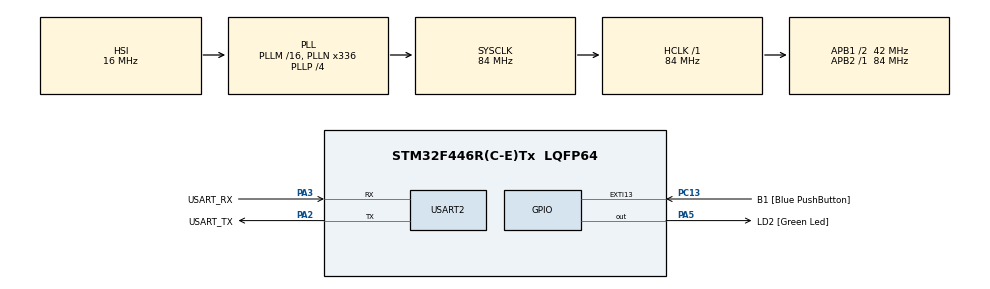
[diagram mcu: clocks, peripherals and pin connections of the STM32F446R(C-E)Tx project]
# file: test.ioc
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Mcu.Family=STM32F4
Mcu.Name=STM32F446R(C-E)Tx
Mcu.Package=LQFP64
NVIC.PriorityGroup=NVIC_PRIORITYGROUP_0
PA13.GPIO_Label=TMS
PA13.Mode=Serial_Wire
PA13.Signal=SYS_JTMS-SWDIO
PA14.GPIO_Label=TCK
PA14.Mode=Serial_Wire
PA14.Signal=SYS_JTCK-SWCLK
PA2.GPIO_Label=USART_TX
PA2.Mode=Asynchronous
PA2.Signal=USART2_TX
PA3.GPIO_Label=USART_RX
PA3.Mode=Asynchronous
PA3.Signal=USART2_RX
PA5.GPIO_Label=LD2 [Green Led]
PA5.Signal=GPIO_Output
PB3.GPIO_Label=SWO
PB3.Signal=SYS_JTDO-SWO
PC13.GPIO_Label=B1 [Blue PushButton]
PC13.GPIO_ModeDefaultEXTI=GPIO_MODE_IT_FALLING
PC13.Signal=GPXTI13
PC14-OSC32_IN.Mode=LSE-External-Oscillator
PC14-OSC32_IN.Signal=RCC_OSC32_IN
PC15-OSC32_OUT.Mode=LSE-External-Oscillator
PC15-OSC32_OUT.Signal=RCC_OSC32_OUT
PH0-OSC_IN.Mode=HSE-External-Oscillator
PH0-OSC_IN.Signal=RCC_OSC_IN
PH1-OSC_OUT.Mode=HSE-External-Oscillator
PH1-OSC_OUT.Signal=RCC_OSC_OUT
ProjectManager.HeapSize=0x200
ProjectManager.StackSize=0x400
ProjectManager.TargetToolchain=Makefile
RCC.48MHZClocksFreq_Value=84000000
RCC.AHBFreq_Value=84000000
RCC.APB1CLKDivider=RCC_HCLK_DIV2
RCC.APB1Freq_Value=42000000
RCC.APB1TimFreq_Value=84000000
RCC.APB2Freq_Value=84000000
RCC.APB2TimFreq_Value=84000000
RCC.CortexFreq_Value=84000000
RCC.FLatency-AdvancedSettings=FLASH_LATENCY_2
RCC.HCLKFreq_Value=84000000
RCC.HSE_VALUE=8000000
RCC.HSI_VALUE=16000000
RCC.PLLN=336
RCC.PLLP=RCC_PLLP_DIV4
RCC.SYSCLKFreq_VALUE=84000000
RCC.SYSCLKSource=RCC_SYSCLKSOURCE_PLLCLK
RCC.USBFreq_Value=168000000
RCC.VCOOutputFreq_Value=336000000
USART2.VirtualMode=VM_ASYNC
VP_TIM7_VS_ClockSourceINT.Mode=Enable_Timer
board=NUCLEO-F446RE

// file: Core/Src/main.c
/* USER CODE BEGIN Header */
/**
  ******************************************************************************
  * @file           : main.c
  * @brief          : Main program body
  ******************************************************************************
  * @attention
  *
  * Copyright (c) 2023 STMicroelectronics.
  * All rights reserved.
  *
  * This software is licensed under terms that can be found in the LICENSE file
  * in the root directory of this software component.
  * If no LICENSE file comes with this software, it is provided AS-IS.
  *
  ******************************************************************************
  */
/* USER CODE END Header */
#include "main.h"

/* USER CODE BEGIN Includes */
#include "sine.h"
#include "median_filter.h"
#include "MedianFilter.h"
#include "stdio.h"
#include "stdlib.h"
#include "string.h"
#include "math.h"
/* USER CODE END Includes */

/* USER CODE BEGIN PM */
#define min(a,b) (a<b ? a : b)
/* USER CODE END PM */

TIM_HandleTypeDef htim7;

UART_HandleTypeDef huart2;

void SystemClock_Config(void);
static void MX_GPIO_Init(void);
static void MX_USART2_UART_Init(void);
static void MX_TIM7_Init(void);

int main(void)
{

  /* MCU Configuration--------------------------------------------------------*/

  /* Reset of all peripherals, Initializes the Flash interface and the Systick. */
  HAL_Init();

  /* Configure the system clock */
  SystemClock_Config();

  /* Initialize all configured peripherals */
  MX_GPIO_Init();
  MX_USART2_UART_Init();
  MX_TIM7_Init();
  /* USER CODE BEGIN 2 */
  static struct MEDFILT_Node medfilt_wndw7[7];
  static struct MEDFILT_Handle hmedfilt7={.window_len=7, .window=medfilt_wndw7};
  static struct MEDFILT_Node medfilt_wndw15[15];
  static struct MEDFILT_Handle hmedfilt15={.window_len=15, .window=medfilt_wndw15};
  static struct MEDFILT_Node medfilt_wndw31[31];
  static struct MEDFILT_Handle hmedfilt31={.window_len=31 , .window=medfilt_wndw31};

  MEDFILT_Init(&hmedfilt7);
  MEDFILT_Init(&hmedfilt15);
  MEDFILT_Init(&hmedfilt31);

  HAL_TIM_Base_Start(&htim7);

  static uint32_t time_start7, time_end7;
  static uint32_t time_start15, time_end15;
  static uint32_t time_start31, time_end31;
  static uint32_t sample_cnt = 0;
  static uint32_t filtered_sample7 = 0;
  static uint32_t filtered_sample15 = 0;
  static uint32_t filtered_sample31 = 0;
  /* USER CODE END 2 */

  /* Infinite loop */
  while (1)
  {

    /* USER CODE BEGIN 3 */
    uint8_t sample = sinewave[sample_cnt%256];

    time_start7 = __HAL_TIM_GET_COUNTER(&htim7);
    filtered_sample7 = MEDFILT_Insert(&hmedfilt7,sample);
    time_end7 = __HAL_TIM_GET_COUNTER(&htim7);

    time_start15 = __HAL_TIM_GET_COUNTER(&htim7);
    filtered_sample15 = MEDFILT_Insert(&hmedfilt15,sample);
    time_end15 = __HAL_TIM_GET_COUNTER(&htim7);

    time_start31 = __HAL_TIM_GET_COUNTER(&htim7);
    filtered_sample31 = MEDFILT_Insert(&hmedfilt31,sample);
    time_end31 = __HAL_TIM_GET_COUNTER(&htim7);

    char buf[50];
    uint32_t cycles7 = min(((uint16_t)(-1U))-abs(time_end7-time_start7),abs(time_end7-time_start7));
    uint32_t cycles15 = min(((uint16_t)(-1U))-abs(time_end15-time_start15),abs(time_end15-time_start15));
    uint32_t cycles31 = min(((uint16_t)(-1U))-abs(time_end31-time_start31),abs(time_end31-time_start31));
    sprintf(buf,"%u,%u,%u,%u,%u,%u,%u,%u\n\r",(uint8_t)sample_cnt%256,sample,filtered_sample7,filtered_sample15,filtered_sample31,cycles7,cycles15,cycles31);
    HAL_UART_Transmit(&huart2,(uint8_t *)buf,strlen(buf),100U);
    HAL_Delay(100);

    sample_cnt++;
  }
  /* USER CODE END 3 */
}

void SystemClock_Config(void)
{
  RCC_OscInitTypeDef RCC_OscInitStruct = {0};
  RCC_ClkInitTypeDef RCC_ClkInitStruct = {0};

  /** Configure the main internal regulator output voltage
  */
  __HAL_RCC_PWR_CLK_ENABLE();
  __HAL_PWR_VOLTAGESCALING_CONFIG(PWR_REGULATOR_VOLTAGE_SCALE3);

  /** Initializes the RCC Oscillators according to the specified parameters
  * in the RCC_OscInitTypeDef structure.
  */
  RCC_OscInitStruct.OscillatorType = RCC_OSCILLATORTYPE_HSI;
  RCC_OscInitStruct.HSIState = RCC_HSI_ON;
  RCC_OscInitStruct.HSICalibrationValue = RCC_HSICALIBRATION_DEFAULT;
  RCC_OscInitStruct.PLL.PLLState = RCC_PLL_ON;
  RCC_OscInitStruct.PLL.PLLSource = RCC_PLLSOURCE_HSI;
  RCC_OscInitStruct.PLL.PLLM = 16;
  RCC_OscInitStruct.PLL.PLLN = 336;
  RCC_OscInitStruct.PLL.PLLP = RCC_PLLP_DIV4;
  RCC_OscInitStruct.PLL.PLLQ = 2;
  RCC_OscInitStruct.PLL.PLLR = 2;
  if (HAL_RCC_OscConfig(&RCC_OscInitStruct) != HAL_OK)
  {
    Error_Handler();
  }

  /** Initializes the CPU, AHB and APB buses clocks
  */
  RCC_ClkInitStruct.ClockType = RCC_CLOCKTYPE_HCLK|RCC_CLOCKTYPE_SYSCLK
                              |RCC_CLOCKTYPE_PCLK1|RCC_CLOCKTYPE_PCLK2;
  RCC_ClkInitStruct.SYSCLKSource = RCC_SYSCLKSOURCE_PLLCLK;
  RCC_ClkInitStruct.AHBCLKDivider = RCC_SYSCLK_DIV1;
  RCC_ClkInitStruct.APB1CLKDivider = RCC_HCLK_DIV2;
  RCC_ClkInitStruct.APB2CLKDivider = RCC_HCLK_DIV1;

  if (HAL_RCC_ClockConfig(&RCC_ClkInitStruct, FLASH_LATENCY_2) != HAL_OK)
  {
    Error_Handler();
  }
}

static void MX_TIM7_Init(void)
{

  TIM_MasterConfigTypeDef sMasterConfig = {0};

  htim7.Instance = TIM7;
  htim7.Init.Prescaler = 0;
  htim7.Init.CounterMode = TIM_COUNTERMODE_UP;
  htim7.Init.Period = 65535;
  htim7.Init.AutoReloadPreload = TIM_AUTORELOAD_PRELOAD_DISABLE;
  if (HAL_TIM_Base_Init(&htim7) != HAL_OK)
  {
    Error_Handler();
  }
  sMasterConfig.MasterOutputTrigger = TIM_TRGO_RESET;
  sMasterConfig.MasterSlaveMode = TIM_MASTERSLAVEMODE_DISABLE;
  if (HAL_TIMEx_MasterConfigSynchronization(&htim7, &sMasterConfig) != HAL_OK)
  {
    Error_Handler();
  }

}

static void MX_USART2_UART_Init(void)
{

  huart2.Instance = USART2;
  huart2.Init.BaudRate = 115200;
  huart2.Init.WordLength = UART_WORDLENGTH_8B;
  huart2.Init.StopBits = UART_STOPBITS_1;
  huart2.Init.Parity = UART_PARITY_NONE;
  huart2.Init.Mode = UART_MODE_TX_RX;
  huart2.Init.HwFlowCtl = UART_HWCONTROL_NONE;
  huart2.Init.OverSampling = UART_OVERSAMPLING_16;
  if (HAL_UART_Init(&huart2) != HAL_OK)
  {
    Error_Handler();
  }

}

static void MX_GPIO_Init(void)
{
  GPIO_InitTypeDef GPIO_InitStruct = {0};

  /* GPIO Ports Clock Enable */
  __HAL_RCC_GPIOC_CLK_ENABLE();
  __HAL_RCC_GPIOH_CLK_ENABLE();
  __HAL_RCC_GPIOA_CLK_ENABLE();
  __HAL_RCC_GPIOB_CLK_ENABLE();

  /*Configure GPIO pin Output Level */
  HAL_GPIO_WritePin(LD2_GPIO_Port, LD2_Pin, GPIO_PIN_RESET);

  /*Configure GPIO pin : B1_Pin */
  GPIO_InitStruct.Pin = B1_Pin;
  GPIO_InitStruct.Mode = GPIO_MODE_IT_FALLING;
  GPIO_InitStruct.Pull = GPIO_NOPULL;
  HAL_GPIO_Init(B1_GPIO_Port, &GPIO_InitStruct);

  /*Configure GPIO pin : LD2_Pin */
  GPIO_InitStruct.Pin = LD2_Pin;
  GPIO_InitStruct.Mode = GPIO_MODE_OUTPUT_PP;
  GPIO_InitStruct.Pull = GPIO_NOPULL;
  GPIO_InitStruct.Speed = GPIO_SPEED_FREQ_LOW;
  HAL_GPIO_Init(LD2_GPIO_Port, &GPIO_InitStruct);

}

void Error_Handler(void)
{
  __disable_irq();
  while (1)
  {
  }
}

/*
* arm-none-eabi-gcc build/main.o build/MedianFilter.o build/stm32f4xx_it.o
* build/stm32f4xx_hal_msp.o build/stm32f4xx_hal_tim.o
* build/stm32f4xx_hal_tim_ex.o build/stm32f4xx_hal_uart.o
* build/stm32f4xx_hal_rcc.o build/stm32f4xx_hal_rcc_ex.o
* build/stm32f4xx_hal_flash.o build/stm32f4xx_hal_flash_ex.o
* build/stm32f4xx_hal_flash_ramfunc.o build/stm32f4xx_hal_gpio.o
* build/stm32f4xx_hal_dma_ex.o build/stm32f4xx_hal_dma.o
* build/stm32f4xx_hal_pwr.o build/stm32f4xx_hal_pwr_ex.o
* build/stm32f4xx_hal_cortex.o build/stm32f4xx_hal.o build/stm32f4xx_hal_exti.o
* build/system_stm32f4xx.o build/startup_stm32f446xx.o -mcpu=cortex-m4 -mthumb
* -mfpu=fpv4-sp-d16 -mfloat-abi=hard -specs=nano.specs -TSTM32F446RETx_FLASH.ld
*  -lc -lm -lnosys  -Wl,-Map=build/test.map,--cref -Wl,--gc-sections -o
*  build/test.elf
/usr/lib/gcc/arm-none-eabi/13.2.0/../../../../arm-none-eabi/bin/ld: /usr/lib/gcc/arm-none-eabi/13.2.0/../../../../arm-none-eabi/lib/thumb/v7e-m+fp/hard/libc_nano.a(libc_a-closer.o): in function `_close_r':
/build/arm-none-eabi-newlib/src/build-nano/arm-none-eabi/thumb/v7e-m+fp/hard/newlib/../../../../../../newlib-4.3.0.20230120/newlib/libc/reent/closer.c:47:(.text._close_r+0xc): warning: _close is not implemented and will always fail
/usr/lib/gcc/arm-none-eabi/13.2.0/../../../../arm-none-eabi/bin/ld: /usr/lib/gcc/arm-none-eabi/13.2.0/../../../../arm-none-eabi/lib/thumb/v7e-m+fp/hard/libc_nano.a(libc_a-lseekr.o): in function `_lseek_r':
/build/arm-none-eabi-newlib/src/build-nano/arm-none-eabi/thumb/v7e-m+fp/hard/newlib/../../../../../../newlib-4.3.0.20230120/newlib/libc/reent/lseekr.c:49:(.text._lseek_r+0x10): warning: _lseek is not implemented and will always fail
/usr/lib/gcc/arm-none-eabi/13.2.0/../../../../arm-none-eabi/bin/ld: /usr/lib/gcc/arm-none-eabi/13.2.0/../../../../arm-none-eabi/lib/thumb/v7e-m+fp/hard/libc_nano.a(libc_a-readr.o): in function `_read_r':
/build/arm-none-eabi-newlib/src/build-nano/arm-none-eabi/thumb/v7e-m+fp/hard/newlib/../../../../../../newlib-4.3.0.20230120/newlib/libc/reent/readr.c:49:(.text._read_r+0x10): warning: _read is not implemented and will always fail
/usr/lib/gcc/arm-none-eabi/13.2.0/../../../../arm-none-eabi/bin/ld: /usr/lib/gcc/arm-none-eabi/13.2.0/../../../../arm-none-eabi/lib/thumb/v7e-m+fp/hard/libc_nano.a(libc_a-writer.o): in function `_write_r':
/build/arm-none-eabi-newlib/src/build-nano/arm-none-eabi/thumb/v7e-m+fp/hard/newlib/../../../../../../newlib-4.3.0.20230120/newlib/libc/reent/writer.c:49:(.text._write_r+0x10): warning: _write is not implemented and will always fail
/usr/lib/gcc/arm-none-eabi/13.2.0/../../../../arm-none-eabi/bin/ld: warning: build/test.elf has a LOAD segment with RWX permissions
*/
